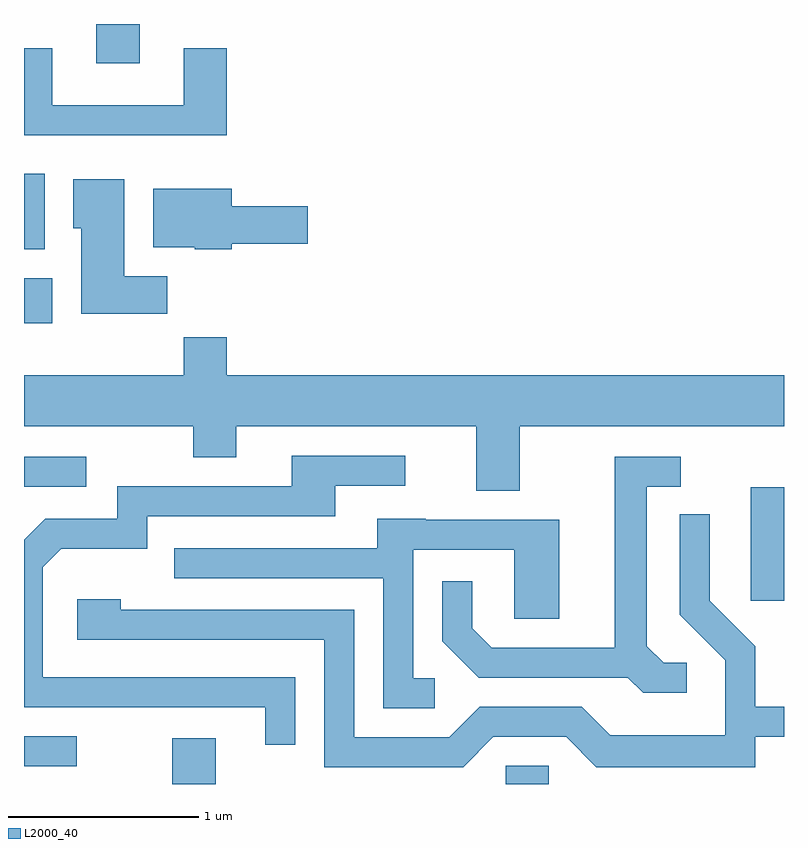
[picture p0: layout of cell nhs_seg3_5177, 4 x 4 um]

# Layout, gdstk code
import gdstk
lib = gdstk.Library(unit=1e-6, precision=1e-09)
def R(c, l, rs):  # rectangles x0, y0, x1, y1
    for r in rs: c.add(gdstk.rectangle(r[:2], r[2:], *l))
def P(c, l, *ps):  # polygons
    for p in ps: c.add(gdstk.Polygon(p, *l))
L2000_40 = (2000, 40)

nhs_seg3_5177 = lib.new_cell('nhs_seg3_5177')
R(nhs_seg3_5177, L2000_40, [(338.391,1141.892,338.619,1142.134), (340.146,1141.892,340.374,1141.989), (337.611,1141.986,337.888,1142.144), (341.436,1142.856,341.611,1143.454), (337.611,1143.456,337.938,1143.614), (337.611,1144.316,337.759,1144.554), (337.611,1144.706,337.719,1145.104), (337.991,1145.686,338.219,1145.892)])
P(nhs_seg3_5177, L2000_40, [(338.679,1145.764),(338.451,1145.764),(338.451,1145.464),(337.759,1145.464),(337.759,1145.764),(337.611,1145.764),(337.611,1145.306),(338.679,1145.306)],
  [(338.364,1144.564),(338.139,1144.564),(338.139,1145.074),(337.871,1145.074),(337.871,1144.816),(337.911,1144.816),(337.911,1144.366),(338.364,1144.366)],
  [(338.704,1144.736),(339.104,1144.736),(339.104,1144.934),(338.704,1144.934),(338.704,1145.024),(338.291,1145.024),(338.291,1144.716),(338.51,1144.716),(338.51,1144.706),(338.704,1144.706)],
  [(340.219,1143.776),(341.611,1143.776),(341.611,1144.044),(338.679,1144.044),(338.679,1144.244),(338.451,1144.244),(338.451,1144.044),(337.611,1144.044),(337.611,1143.776),(338.501,1143.776),(338.501,1143.611),(338.729,1143.611),(338.729,1143.776),(339.991,1143.776),(339.991,1143.436),(340.219,1143.436)],
  [(339.039,1142.454),(337.709,1142.454),(337.709,1143.034),(337.807,1143.131),(338.259,1143.131),(338.259,1143.301),(339.249,1143.301),(339.249,1143.461),(339.618,1143.461),(339.618,1143.619),(339.021,1143.619),(339.021,1143.459),(338.101,1143.459),(338.101,1143.289),(337.724,1143.289),(337.611,1143.177),(337.611,1142.296),(338.881,1142.296),(338.881,1142.098),(339.039,1142.098)],
  [(341.098,1142.529),(340.977,1142.529),(340.889,1142.617),(340.889,1143.456),(341.068,1143.456),(341.068,1143.614),(340.721,1143.614),(340.721,1142.609),(340.072,1142.609),(339.969,1142.712),(339.969,1142.958),(339.811,1142.958),(339.811,1142.644),(340.004,1142.451),(340.789,1142.451),(340.869,1142.371),(341.098,1142.371)],
  [(340.082,1142.141),(340.464,1142.141),(340.624,1141.981),(341.459,1141.981),(341.459,1142.141),(341.611,1142.141),(341.611,1142.299),(341.459,1142.299),(341.459,1142.617),(341.219,1142.857),(341.219,1143.313),(341.061,1143.313),(341.061,1142.784),(341.301,1142.544),(341.301,1142.149),(340.697,1142.149),(340.547,1142.299),(340.009,1142.299),(339.849,1142.139),(339.349,1142.139),(339.349,1142.809),(338.119,1142.809),(338.119,1142.864),(337.891,1142.864),(337.891,1142.651),(339.191,1142.651),(339.191,1141.981),(339.922,1141.981)],
  [(339.773,1142.449),(339.659,1142.449),(339.659,1143.126),(340.191,1143.126),(340.191,1142.761),(340.429,1142.761),(340.429,1143.284),(339.725,1143.284),(339.725,1143.289),(339.471,1143.289),(339.471,1143.134),(338.403,1143.134),(338.403,1142.976),(339.501,1142.976),(339.501,1142.291),(339.773,1142.291)])

lib.write_gds('nhs_seg3_5177.gds')
